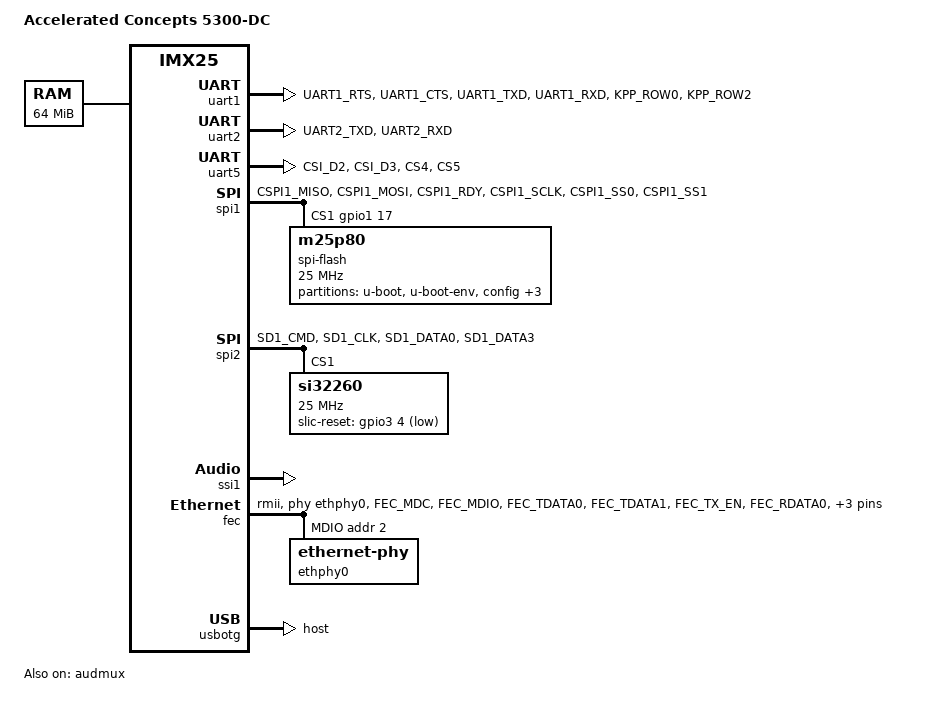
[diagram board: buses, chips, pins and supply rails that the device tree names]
/*
 * Copyright 2015 Accelerated Concepts Inc.
 *
 * The code contained herein is licensed under the GNU General Public
 * License. You may obtain a copy of the GNU General Public License
 * Version 2 or later at the following locations:
 *
 * http://www.opensource.org/licenses/gpl-license.html
 * http://www.gnu.org/copyleft/gpl.html
 */

/dts-v1/;
#include <dt-bindings/gpio/gpio.h>
#include "imx25.dtsi"

/ {
	model = "Accelerated Concepts 5300-DC";
	compatible = "accelerated,5300-dc", "fsl,imx25";

	memory {
		reg = <0x80000000 0x4000000>;
	};

	regulators {
		compatible = "simple-bus";
		#address-cells = <1>;
		#size-cells = <0>;
	};
};

&iomuxc {
	imx25-5300-dc {
		pinctrl_uart1: uart1grp {
			fsl,pins = <
				MX25_PAD_UART1_RTS__UART1_RTS	0xe0
				MX25_PAD_UART1_CTS__UART1_CTS	0xe0
				MX25_PAD_UART1_TXD__UART1_TXD	0x80000000
				MX25_PAD_UART1_RXD__UART1_RXD	0xc0
				MX25_PAD_KPP_ROW0__UART1_DTR	0xe0
				MX25_PAD_KPP_ROW2__UART1_DCD	0xe0
			>;
		};

		pinctrl_uart2: uart2grp {
			fsl,pins = <
				MX25_PAD_UART2_TXD__UART2_TXD	0x80000000
				MX25_PAD_UART2_RXD__UART2_RXD	0xc0
			>;
		};

		pinctrl_uart5: uart5grp {
			fsl,pins = <
				MX25_PAD_CSI_D2__UART5_RXD	0x80000000
				MX25_PAD_CSI_D3__UART5_TXD	0xc0
				MX25_PAD_CS4__UART5_CTS		0xe0
				MX25_PAD_CS5__UART5_RTS		0xe0
			>;
		};

		pinctrl_fec: fecgrp {
			fsl,pins = <
				MX25_PAD_FEC_MDC__FEC_MDC	0x80000000
				MX25_PAD_FEC_MDIO__FEC_MDIO	0x80000000
				MX25_PAD_FEC_TDATA0__FEC_TDATA0	0x80000000
				MX25_PAD_FEC_TDATA1__FEC_TDATA1	0x80000000
				MX25_PAD_FEC_TX_EN__FEC_TX_EN	0x80000000
				MX25_PAD_FEC_RDATA0__FEC_RDATA0	0x80000000
				MX25_PAD_FEC_RDATA1__FEC_RDATA1	0x80000000
				MX25_PAD_FEC_RX_DV__FEC_RX_DV	0x80000000
				MX25_PAD_FEC_TX_CLK__FEC_TX_CLK	0x80000000
			>;
		};

		pinctrl_spi1: spi1grp {
			fsl,pins = <
				MX25_PAD_CSPI1_MISO__CSPI1_MISO	0x80000000
				MX25_PAD_CSPI1_MOSI__CSPI1_MOSI	0x80000000
				MX25_PAD_CSPI1_RDY__CSPI1_RDY	0x80
				MX25_PAD_CSPI1_SCLK__CSPI1_SCLK	0x80000000
				MX25_PAD_CSPI1_SS0__CSPI1_SS0	0x80000000
				MX25_PAD_CSPI1_SS1__GPIO_1_17	0x80000000
			>;
		};

		pinctrl_spi2: spi2grp {
			fsl,pins = <
				MX25_PAD_SD1_CMD__CSPI2_MOSI	0x80000000
				MX25_PAD_SD1_CLK__CSPI2_MISO	0x80000000
				MX25_PAD_SD1_DATA0__CSPI2_SCLK	0x80000000
				MX25_PAD_SD1_DATA3__CSPI2_SS1	0x80000000
			>;
		};

		pinctrl_leds: ledgrp {
			fsl,pins = <
				MX25_PAD_KPP_ROW3__GPIO_3_0	0x80000000
				MX25_PAD_KPP_COL0__GPIO_3_1	0x80000000
				MX25_PAD_KPP_COL1__GPIO_3_2	0x80000000
				MX25_PAD_KPP_COL2__GPIO_3_3	0x80000000
			>;
		};

		pinctrl_modem: modemgrp {
			fsl,pins = <
				MX25_PAD_EXT_ARMCLK__GPIO_3_15	0x80000000
				MX25_PAD_HSYNC__GPIO_1_22	0x80000000
			>;
		};

		pinctrl_slic: slicgrp {
			fsl,pins = <
				MX25_PAD_KPP_COL3__GPIO_3_4	0x80000000
				MX25_PAD_ECB__GPIO_3_23		0x80000000
				MX25_PAD_LBA__GPIO_3_24		0x80000000
			>;
		};

		pinctrl_audmux: audmuxgrp {
			fsl,pins = <
				MX25_PAD_LD14__AUD3_RXC		0x80000000
				MX25_PAD_LD9__AUD3_RXD		0x80000000
				MX25_PAD_LD15__AUD3_RXFS	0x80000000
				MX25_PAD_LD10__AUD3_TXC		0x80000000
				MX25_PAD_LD8__AUD3_TXD		0x80000000
				MX25_PAD_LD11__AUD3_TXFS	0x80000000
			>;
		};
	};
};

&uart1 {
	pinctrl-names = "default";
	pinctrl-0 = <&pinctrl_uart1>;
	fsl,uart-has-rtscts;
	fsl,uart-has-dtrdcd;
	fsl,dte-mode;
	status = "okay";
};

&uart2 {
	pinctrl-names = "default";
	pinctrl-0 = <&pinctrl_uart2>;
	status = "okay";
};

&uart5 {
	pinctrl-names = "default";
	pinctrl-0 = <&pinctrl_uart5>;
	fsl,uart-has-rtscts;
	fsl,uart-has-dtr-gpio = <&gpio1 30 GPIO_ACTIVE_HIGH>;
	fsl,uart-has-dcd-gpio = <&gpio1 29 GPIO_ACTIVE_HIGH>;
	fsl,dte-mode;
	status = "okay";
};

&spi1 {
	pinctrl-names = "default";
	pinctrl-0 = <&pinctrl_spi1>;
	fsl,spi-num-chipselects = <4>;
	cs-gpios = <0>, <&gpio1 17 GPIO_ACTIVE_HIGH>, <0>, <0>;
	status = "okay";

	spi-flash@0 {
		#address-cells = <1>;
		#size-cells = <1>;
		compatible = "m25p80";
		reg = <1>;
		spi-max-frequency = <25000000>;

		partition@0 {
			label = "u-boot";
			reg = <0x00000000 0x00030000>;
		};
		partition@1 {
			label = "u-boot-env";
			reg = <0x00030000 0x00010000>;
		};
		partition@2 {
			label = "config";
			reg = <0x00040000 0x000c0000>;
		};
		partition@3 {
			label = "image";
			reg = <0x00100000 0x00780000>;
		};
		partition@4 {
			label = "image1";
			reg = <0x00880000 0x00780000>;
		};
		partition@5 {
			label = "all";
			reg = <0x00000000 0x01000000>;
		};
	};
};

&spi2 {
	pinctrl-names = "default";
	pinctrl-0 = <&pinctrl_spi2>;
	fsl,spi-num-chipselects = <4>;
	cs-gpios = <0>, <0>, <0>, <0>; /* native chip selects */
	status = "okay";

	si32260: slic@0 {
		compatible = "si32260";
		pinctrl-names = "default";
		pinctrl-0 = <&pinctrl_slic>;
		slic-reset-gpios = <&gpio3 4 GPIO_ACTIVE_LOW>;
		interrupts = <&gpio3 23 GPIO_ACTIVE_LOW>;
		reg = <1>;
		spi-max-frequency = <25000000>;
		spi-cpol;
		spi-cpha;
	};
};

&ssi1 {
	compatible = "si32260-ssi";
	status = "okay";
};

&audmux {
	compatible = "si32260-audmux";
	pinctrl-names = "default";
	pinctrl-0 = <&pinctrl_audmux>;
	status = "okay";
};

&fec {
	pinctrl-names = "default";
	pinctrl-0 = <&pinctrl_fec>;
	phy-mode = "rmii";
	phy-handle = <&ethphy0>;
	status = "okay";

	mdio {
		#address-cells = <1>;
		#size-cells = <0>;
		status = "okay";
		ethphy0: ethernet-phy@0 {
			reg = <2>;
		};
	};
};

&usbotg {
	phy_type = "utmi";
	dr_mode = "host";
	status = "okay";
};

